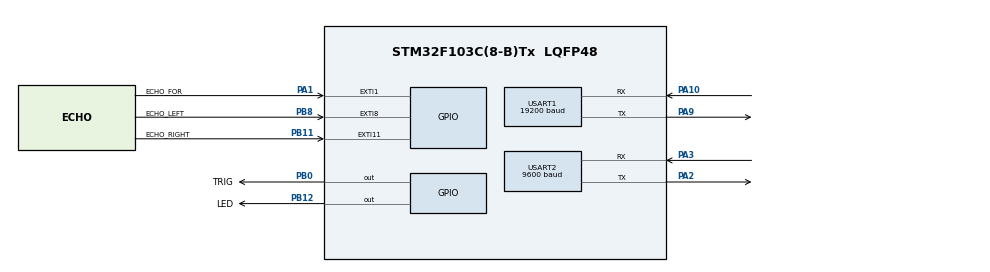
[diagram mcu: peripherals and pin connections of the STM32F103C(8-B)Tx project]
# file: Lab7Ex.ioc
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FREERTOS.Tasks01=defaultTask,0,128,StartDefaultTask,Default,NULL,Dynamic,NULL,NULL;ReadDistForward,0,128,ReadDist,Default,NULL,Dynamic,NULL,NULL;MainMove,0,128,MainMoveFunc,Default,NULL,Dynamic,NULL,NULL
Mcu.Family=STM32F1
Mcu.Name=STM32F103C(8-B)Tx
Mcu.Package=LQFP48
NVIC.EXTI15_10_IRQn=true\:5\:0\:false\:false\:true\:true\:true
NVIC.EXTI1_IRQn=true\:5\:0\:false\:false\:true\:true\:true
NVIC.EXTI9_5_IRQn=true\:5\:0\:false\:false\:true\:true\:true
NVIC.PriorityGroup=NVIC_PRIORITYGROUP_4
NVIC.TIM1_UP_IRQn=true\:0\:0\:false\:false\:true\:false\:false
NVIC.TIM3_IRQn=true\:5\:0\:false\:false\:true\:true\:true
NVIC.TimeBase=TIM1_UP_IRQn
NVIC.TimeBaseIP=TIM1
NVIC.USART2_IRQn=true\:5\:0\:false\:false\:true\:true\:true
PA1.GPIO_Label=ECHO_FOR
PA1.GPIO_ModeDefaultEXTI=GPIO_MODE_IT_RISING_FALLING
PA1.Signal=GPXTI1
PA10.Mode=Asynchronous
PA10.Signal=USART1_RX
PA13.Mode=Serial_Wire
PA13.Signal=SYS_JTMS-SWDIO
PA14.Mode=Serial_Wire
PA14.Signal=SYS_JTCK-SWCLK
PA2.Mode=Asynchronous
PA2.Signal=USART2_TX
PA3.Mode=Asynchronous
PA3.Signal=USART2_RX
PA9.Mode=Asynchronous
PA9.Signal=USART1_TX
PB0.GPIO_Label=TRIG
PB0.Signal=GPIO_Output
PB11.GPIO_Label=ECHO_RIGHT
PB11.GPIO_ModeDefaultEXTI=GPIO_MODE_IT_RISING_FALLING
PB11.Signal=GPXTI11
PB12.GPIO_Label=LED
PB12.Signal=GPIO_Output
PB8.GPIO_Label=ECHO_LEFT
PB8.GPIO_ModeDefaultEXTI=GPIO_MODE_IT_RISING_FALLING
PB8.Signal=GPXTI8
PD0-OSC_IN.Mode=HSE-External-Oscillator
PD0-OSC_IN.Signal=RCC_OSC_IN
PD1-OSC_OUT.Mode=HSE-External-Oscillator
PD1-OSC_OUT.Signal=RCC_OSC_OUT
ProjectManager.HeapSize=0x200
ProjectManager.StackSize=0x400
ProjectManager.TargetToolchain=MDK-ARM V5
RCC.APB1Freq_Value=8000000
RCC.APB2Freq_Value=8000000
TIM3.AutoReloadPreload=TIM_AUTORELOAD_PRELOAD_ENABLE
TIM3.Period=10000-1
TIM3.Prescaler=800-1
USART1.BaudRate=19200
USART1.VirtualMode=VM_ASYNC
USART2.BaudRate=9600
USART2.VirtualMode=VM_ASYNC
VP_FREERTOS_VS_ENABLE.Mode=Enabled
VP_SYS_VS_tim1.Mode=TIM1
VP_TIM3_VS_ClockSourceINT.Mode=Internal
board=custom

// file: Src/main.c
/**
  ******************************************************************************
  * @file           : main.c
  * @brief          : Main program body
  ******************************************************************************
  * This notice applies to any and all portions of this file
  * that are not between comment pairs USER CODE BEGIN and
  * USER CODE END. Other portions of this file, whether
  * inserted by the user or by software development tools
  * are owned by their respective copyright owners.
  *
  * Copyright (c) 2019 STMicroelectronics International N.V.
  * All rights reserved.
  *
  * Redistribution and use in source and binary forms, with or without
  * modification, are permitted, provided that the following conditions are met:
  *
  * 1. Redistribution of source code must retain the above copyright notice,
  *    this list of conditions and the following disclaimer.
  * 2. Redistributions in binary form must reproduce the above copyright notice,
  *    this list of conditions and the following disclaimer in the documentation
  *    and/or other materials provided with the distribution.
  * 3. Neither the name of STMicroelectronics nor the names of other
  *    contributors to this software may be used to endorse or promote products
  *    derived from this software without specific written permission.
  * 4. This software, including modifications and/or derivative works of this
  *    software, must execute solely and exclusively on microcontroller or
  *    microprocessor devices manufactured by or for STMicroelectronics.
  * 5. Redistribution and use of this software other than as permitted under
  *    this license is void and will automatically terminate your rights under
  *    this license.
  *
  * THIS SOFTWARE IS PROVIDED BY STMICROELECTRONICS AND CONTRIBUTORS "AS IS"
  * AND ANY EXPRESS, IMPLIED OR STATUTORY WARRANTIES, INCLUDING, BUT NOT
  * LIMITED TO, THE IMPLIED WARRANTIES OF MERCHANTABILITY, FITNESS FOR A
  * PARTICULAR PURPOSE AND NON-INFRINGEMENT OF THIRD PARTY INTELLECTUAL PROPERTY
  * RIGHTS ARE DISCLAIMED TO THE FULLEST EXTENT PERMITTED BY LAW. IN NO EVENT
  * SHALL STMICROELECTRONICS OR CONTRIBUTORS BE LIABLE FOR ANY DIRECT, INDIRECT,
  * INCIDENTAL, SPECIAL, EXEMPLARY, OR CONSEQUENTIAL DAMAGES (INCLUDING, BUT NOT
  * LIMITED TO, PROCUREMENT OF SUBSTITUTE GOODS OR SERVICES; LOSS OF USE, DATA,
  * OR PROFITS; OR BUSINESS INTERRUPTION) HOWEVER CAUSED AND ON ANY THEORY OF
  * LIABILITY, WHETHER IN CONTRACT, STRICT LIABILITY, OR TORT (INCLUDING
  * NEGLIGENCE OR OTHERWISE) ARISING IN ANY WAY OUT OF THE USE OF THIS SOFTWARE,
  * EVEN IF ADVISED OF THE POSSIBILITY OF SUCH DAMAGE.
  *
  ******************************************************************************
  */
#include "main.h"
#include "stm32f1xx_hal.h"
#include "cmsis_os.h"

/* USER CODE BEGIN Includes */

int CLEAR_PARAM = 60;
#define SPEED_SOUND 0.017
#define SIDE_CLEAR_PARAM 90
#define TURNANGLE 86
#define ANGLE_TOLER 3
#include "dwt_delay.h"
#define FOR_RIGHT 0xC1
#define FOR_LEFT 0xC9
#define BACK_RIGHT 0xC2
#define BACK_LEFT 0xCA
#define BRAKE_RIGHT 0xC4
#define BRAKE_LEFT 0xCC
#define ACCEL_RIGHT 0xC5
#define ACCEL_LEFT 0xCD
#define DIR_RIGHT 1
#define DIR_LEFT 0
#define EB3D_3N_WALL 40
#define ANGLE_OFFSET 20
#define MIN_DIST2WALL 40
#define RAMP1 55
#define RAMP2 56

/* USER CODE END Includes */

TIM_HandleTypeDef htim3;

UART_HandleTypeDef huart1;
UART_HandleTypeDef huart2;

osThreadId defaultTaskHandle;
osThreadId ReadDistForwardHandle;
osThreadId MainMoveHandle;

/* USER CODE BEGIN PV */
/* Private variables ---------------------------------------------------------*/
uint32_t local_time, sensor_time;
uint32_t distance;
volatile int angle;
int sensortimef,sensortimer,sensortimel;
char readyf,readyr,readyl;
char readyAngle=0;
int angle1,angle2,angle3,angle4,targetangle;
int correction;

unsigned long long seconds=0;
unsigned long long milliseconds=0;
char counterEN=0;
int clear(int value);
int readingsf[4];
int readingsr[4];
int readingsl[4];
int readingf;
int readingr;
int readingl;

char dir;
int state = 0;
float time = 0;
int human = 0;
//enum state {FWD_ALIGNED = 0, TURN, FWD_UNALIGNED, TURN180,UNTURN};
enum status {INIT, FWD_ALIGNED, TURN, FWD_UNALIGNED, STOP};
int comingtoTURNfrom, comingtoSTOPfrom;
char parentState=1;
char childState=0;
int startOpen=0;

int abs(int a) {
	return a < 0? -a : a;
}

int min(float a, float b) {
	return a < b ? a : b;
}

int max(float a, float b) {
	return a > b ? a : b;
}

int diff_angle(int angle_a, int angle_b) {
	int diff = angle_b - angle_a;
	if (diff > 180) {
		diff = 360-diff;
		diff = -diff;
	} else if (diff < -180) {
		diff = 360+diff;
		diff = -diff;
	}
	return diff; // 0->180 or -180->0
}
int lastUpdatedSecond=-1;
int possibleWallTime=-1;
void goForward(int speed)
{

	int speedr = speed;
	int speedl=speed;
	if(state==FWD_ALIGNED&&(readingl<MIN_DIST2WALL||readingr<MIN_DIST2WALL))
	{
		if(readingl<MIN_DIST2WALL&&readingr>MIN_DIST2WALL+5)
		{
			speedr=0;
		}else if(readingr<MIN_DIST2WALL&&readingl>MIN_DIST2WALL+5)
		{
			speedl=0;
		}
		if(lastUpdatedSecond==-1||seconds-lastUpdatedSecond>=1)
		{
			if(speedr==0)
			{
				lastUpdatedSecond=seconds;
				angle1++;
			}else if(speedl==0)
			{
				lastUpdatedSecond=seconds;
				if(angle1==0)
					angle1=359;
				else
					angle1--;
			}
			angle1=angle1%360;
			angle2=(angle1+90)%360;
			angle3=(angle2+90)%360;
			angle4=(angle3+90)%360;
		}
	}else{
		int diff = diff_angle(angle, targetangle);
		int adiff = abs(diff);
		if (adiff > ANGLE_TOLER && adiff <= 45) {
			if (diff < 0) {
				speedl -= speed*((1-(0.05f+min(0.95f, abs(45-adiff)/45.0f))));
			} else {
				speedr -= speed*((1-(0.05f+min(0.95f, abs(45-adiff)/45.0f))));
			}
		} else if (adiff > 45) {
			if (diff < 0) {
				speedl = 0;
			} else {
				speedr = 0;
			}
		}
	}
	uint8_t forward[] = {ACCEL_RIGHT, speedr, ACCEL_LEFT,speedl};
	HAL_UART_Transmit(&huart1, forward ,sizeof(forward), 1000);
}
void goForwardUnAlligned(int speed)
{
	int speedr = speed;
	int speedl=speed;
	uint8_t forward[] = {ACCEL_RIGHT, speedr, ACCEL_LEFT,speedl};
	HAL_UART_Transmit(&huart1, forward ,sizeof(forward), 1000);
}
void stop()
{
	uint8_t stop[] = {BRAKE_RIGHT, 0x00, BRAKE_LEFT, 0x00};
	HAL_UART_Transmit(&huart1, stop ,sizeof(stop), 1000);
}
void right(int speed) {
		uint8_t a[] = { FOR_LEFT, speed, BACK_RIGHT, speed};
		HAL_UART_Transmit(&huart1, a ,sizeof(a), 1000);
		while(diff_angle(angle, targetangle) >= ANGLE_TOLER);
		stop();
//	int startAngle=angle;
//	uint8_t a[] = { 0xC2, 0x20, 0xC9, 0x20};
//	HAL_UART_Transmit(&huart1, a ,sizeof(a), 1000);
//	while(1){
//		if(angle>startAngle&&(angle-startAngle>=TURNANGLE))
//				break;
//		if(angle<startAngle&&((360+angle)-startAngle>=TURNANGLE))
//				break;
//	};
//		stop();
}

void left(int speed)
{
		uint8_t a[] = { FOR_RIGHT, speed, BACK_LEFT, speed};
		HAL_UART_Transmit(&huart1, a ,sizeof(a), 1000);
		while(diff_angle(angle, targetangle) <= -ANGLE_TOLER);
		stop();
//	int startAngle=angle;
//		uint8_t a[] = { 0xC1, 0x20, 0xCA, 0x20};
//		HAL_UART_Transmit(&huart1, a ,sizeof(a), 1000);
//		while(1){
//			if(angle<startAngle&&(startAngle-angle>=TURNANGLE))
//				break;
//			if(angle>startAngle&&((360+startAngle)-angle>=TURNANGLE))
//				break;
//		};
//		stop();
	//HAL_Delay(delay);
}

int getReading(int* readings)
{
	int avg=0;
	for(int i = 0;i<4;i++) {
			avg+=readings[i];
	}
	return avg/4;
}
void addReading(int* readings,int reading)
{
	for(int i = 0;i<3;i++)
		readings[i]=readings[i+1];
	readings[3]=reading;
}
/* USER CODE END PV */

void SystemClock_Config(void);
static void MX_GPIO_Init(void);
static void MX_USART1_UART_Init(void);
static void MX_USART2_UART_Init(void);
static void MX_TIM3_Init(void);
void StartDefaultTask(void const * argument);
void ReadDist(void const * argument);
void MainMoveFunc(void const * argument);

/* USER CODE BEGIN PFP */
/* Private function prototypes -----------------------------------------------*/

/* USER CODE END PFP */

int main(void)
{

  /* MCU Configuration----------------------------------------------------------*/

  /* Reset of all peripherals, Initializes the Flash interface and the Systick. */
  HAL_Init();

  /* Configure the system clock */
  SystemClock_Config();

  /* Initialize all configured peripherals */
  MX_GPIO_Init();
  MX_USART1_UART_Init();
  MX_USART2_UART_Init();
  MX_TIM3_Init();

  /* Create the thread(s) */
  /* definition and creation of defaultTask */
  osThreadDef(defaultTask, StartDefaultTask, osPriorityNormal, 0, 128);
  defaultTaskHandle = osThreadCreate(osThread(defaultTask), NULL);

  /* definition and creation of ReadDistForward */
  osThreadDef(ReadDistForward, ReadDist, osPriorityNormal, 0, 128);
  ReadDistForwardHandle = osThreadCreate(osThread(ReadDistForward), NULL);

  /* definition and creation of MainMove */
  osThreadDef(MainMove, MainMoveFunc, osPriorityNormal, 0, 128);
  MainMoveHandle = osThreadCreate(osThread(MainMove), NULL);

  /* USER CODE BEGIN RTOS_QUEUES */
  /* add queues, ... */
	DWT_Init();
	__HAL_UART_ENABLE_IT(&huart2, UART_IT_RXNE);
	HAL_TIM_Base_Start_IT(&htim3);
	HAL_Delay(3000);
	stop();
	HAL_Delay(1000);
  /* USER CODE END RTOS_QUEUES */

  /* Start scheduler */
  osKernelStart();

  /* We should never get here as control is now taken by the scheduler */

  /* Infinite loop */
  while (1)
  {

  }

}

void SystemClock_Config(void)
{

  RCC_OscInitTypeDef RCC_OscInitStruct;
  RCC_ClkInitTypeDef RCC_ClkInitStruct;

    /**Initializes the CPU, AHB and APB busses clocks
    */
  RCC_OscInitStruct.OscillatorType = RCC_OSCILLATORTYPE_HSI;
  RCC_OscInitStruct.HSIState = RCC_HSI_ON;
  RCC_OscInitStruct.HSICalibrationValue = 16;
  RCC_OscInitStruct.PLL.PLLState = RCC_PLL_NONE;
  if (HAL_RCC_OscConfig(&RCC_OscInitStruct) != HAL_OK)
  {
    _Error_Handler(__FILE__, __LINE__);
  }

    /**Initializes the CPU, AHB and APB busses clocks
    */
  RCC_ClkInitStruct.ClockType = RCC_CLOCKTYPE_HCLK|RCC_CLOCKTYPE_SYSCLK
                              |RCC_CLOCKTYPE_PCLK1|RCC_CLOCKTYPE_PCLK2;
  RCC_ClkInitStruct.SYSCLKSource = RCC_SYSCLKSOURCE_HSI;
  RCC_ClkInitStruct.AHBCLKDivider = RCC_SYSCLK_DIV1;
  RCC_ClkInitStruct.APB1CLKDivider = RCC_HCLK_DIV1;
  RCC_ClkInitStruct.APB2CLKDivider = RCC_HCLK_DIV1;

  if (HAL_RCC_ClockConfig(&RCC_ClkInitStruct, FLASH_LATENCY_0) != HAL_OK)
  {
    _Error_Handler(__FILE__, __LINE__);
  }

    /**Configure the Systick interrupt time
    */
  HAL_SYSTICK_Config(HAL_RCC_GetHCLKFreq()/1000);

    /**Configure the Systick
    */
  HAL_SYSTICK_CLKSourceConfig(SYSTICK_CLKSOURCE_HCLK);

  /* SysTick_IRQn interrupt configuration */
  HAL_NVIC_SetPriority(SysTick_IRQn, 15, 0);
}

/* TIM3 init function */
static void MX_TIM3_Init(void)
{

  TIM_ClockConfigTypeDef sClockSourceConfig;
  TIM_MasterConfigTypeDef sMasterConfig;

  htim3.Instance = TIM3;
  htim3.Init.Prescaler = 800-1;
  htim3.Init.CounterMode = TIM_COUNTERMODE_UP;
  htim3.Init.Period = 10000-1;
  htim3.Init.ClockDivision = TIM_CLOCKDIVISION_DIV1;
  htim3.Init.AutoReloadPreload = TIM_AUTORELOAD_PRELOAD_ENABLE;
  if (HAL_TIM_Base_Init(&htim3) != HAL_OK)
  {
    _Error_Handler(__FILE__, __LINE__);
  }

  sClockSourceConfig.ClockSource = TIM_CLOCKSOURCE_INTERNAL;
  if (HAL_TIM_ConfigClockSource(&htim3, &sClockSourceConfig) != HAL_OK)
  {
    _Error_Handler(__FILE__, __LINE__);
  }

  sMasterConfig.MasterOutputTrigger = TIM_TRGO_RESET;
  sMasterConfig.MasterSlaveMode = TIM_MASTERSLAVEMODE_DISABLE;
  if (HAL_TIMEx_MasterConfigSynchronization(&htim3, &sMasterConfig) != HAL_OK)
  {
    _Error_Handler(__FILE__, __LINE__);
  }

}

/* USART1 init function */
static void MX_USART1_UART_Init(void)
{

  huart1.Instance = USART1;
  huart1.Init.BaudRate = 19200;
  huart1.Init.WordLength = UART_WORDLENGTH_8B;
  huart1.Init.StopBits = UART_STOPBITS_1;
  huart1.Init.Parity = UART_PARITY_NONE;
  huart1.Init.Mode = UART_MODE_TX_RX;
  huart1.Init.HwFlowCtl = UART_HWCONTROL_NONE;
  huart1.Init.OverSampling = UART_OVERSAMPLING_16;
  if (HAL_UART_Init(&huart1) != HAL_OK)
  {
    _Error_Handler(__FILE__, __LINE__);
  }

}

/* USART2 init function */
static void MX_USART2_UART_Init(void)
{

  huart2.Instance = USART2;
  huart2.Init.BaudRate = 9600;
  huart2.Init.WordLength = UART_WORDLENGTH_8B;
  huart2.Init.StopBits = UART_STOPBITS_1;
  huart2.Init.Parity = UART_PARITY_NONE;
  huart2.Init.Mode = UART_MODE_TX_RX;
  huart2.Init.HwFlowCtl = UART_HWCONTROL_NONE;
  huart2.Init.OverSampling = UART_OVERSAMPLING_16;
  if (HAL_UART_Init(&huart2) != HAL_OK)
  {
    _Error_Handler(__FILE__, __LINE__);
  }

}

/** Configure pins as
        * Analog
        * Input
        * Output
        * EVENT_OUT
        * EXTI
*/
static void MX_GPIO_Init(void)
{

  GPIO_InitTypeDef GPIO_InitStruct;

  /* GPIO Ports Clock Enable */
  __HAL_RCC_GPIOD_CLK_ENABLE();
  __HAL_RCC_GPIOA_CLK_ENABLE();
  __HAL_RCC_GPIOB_CLK_ENABLE();

  /*Configure GPIO pin Output Level */
  HAL_GPIO_WritePin(GPIOB, TRIG_Pin|LED_Pin, GPIO_PIN_RESET);

  /*Configure GPIO pin : ECHO_FOR_Pin */
  GPIO_InitStruct.Pin = ECHO_FOR_Pin;
  GPIO_InitStruct.Mode = GPIO_MODE_IT_RISING_FALLING;
  GPIO_InitStruct.Pull = GPIO_NOPULL;
  HAL_GPIO_Init(ECHO_FOR_GPIO_Port, &GPIO_InitStruct);

  /*Configure GPIO pins : TRIG_Pin LED_Pin */
  GPIO_InitStruct.Pin = TRIG_Pin|LED_Pin;
  GPIO_InitStruct.Mode = GPIO_MODE_OUTPUT_PP;
  GPIO_InitStruct.Pull = GPIO_NOPULL;
  GPIO_InitStruct.Speed = GPIO_SPEED_FREQ_LOW;
  HAL_GPIO_Init(GPIOB, &GPIO_InitStruct);

  /*Configure GPIO pins : ECHO_RIGHT_Pin ECHO_LEFT_Pin */
  GPIO_InitStruct.Pin = ECHO_RIGHT_Pin|ECHO_LEFT_Pin;
  GPIO_InitStruct.Mode = GPIO_MODE_IT_RISING_FALLING;
  GPIO_InitStruct.Pull = GPIO_NOPULL;
  HAL_GPIO_Init(GPIOB, &GPIO_InitStruct);

  /* EXTI interrupt init*/
  HAL_NVIC_SetPriority(EXTI1_IRQn, 5, 0);
  HAL_NVIC_EnableIRQ(EXTI1_IRQn);

  HAL_NVIC_SetPriority(EXTI9_5_IRQn, 5, 0);
  HAL_NVIC_EnableIRQ(EXTI9_5_IRQn);

  HAL_NVIC_SetPriority(EXTI15_10_IRQn, 5, 0);
  HAL_NVIC_EnableIRQ(EXTI15_10_IRQn);

}

void StartDefaultTask(void const * argument)
{

 for(;;){
		osDelay(1);
  }
}

/* USER CODE BEGIN Header_ReadDist */
/**
* @brief Function implementing the ReadDistForward thread.
* @param argument: Not used
* @retval None
*/
int read=0;
/* USER CODE END Header_ReadDist */
void ReadDist(void const * argument)
{
  /* USER CODE BEGIN ReadDist */
  /* Infinite loop */
	readyr=0;
	readyf=0;
	readyl=0;
	HAL_GPIO_WritePin(TRIG_GPIO_Port, TRIG_Pin, GPIO_PIN_SET);  // pull the TRIG pin HIGH
	DWT_Delay(10);  // wait for 10 us
	HAL_GPIO_WritePin(TRIG_GPIO_Port, TRIG_Pin, GPIO_PIN_RESET);  // pull the TRIG pin low
  for(;;)
  {
		if(readyf)
		{
			distance  = sensortimef*SPEED_SOUND;
			addReading(readingsf,distance);
			read=getReading(readingsf);
			if(read!=-1)
				readingf=read;
		}
		if(readyl)
		{
			distance  = sensortimel*SPEED_SOUND;
			addReading(readingsl,distance);
			read=getReading(readingsl);
			if(read!=-1)
					readingl=read;
		}
		if(readyr)
		{
			distance  = sensortimer*SPEED_SOUND;
			addReading(readingsr,distance);
			read=getReading(readingsr);
			if(read!=-1)
					readingr=read;
		}
		if(readyf&&readyl&&readyr)
		{
			readyr=0;
			readyf=0;
			readyl=0;
			HAL_GPIO_WritePin(TRIG_GPIO_Port, TRIG_Pin, GPIO_PIN_SET);  // pull the TRIG pin HIGH
			DWT_Delay(10);  // wait for 10 us
			HAL_GPIO_WritePin(TRIG_GPIO_Port, TRIG_Pin, GPIO_PIN_RESET);  // pull the TRIG pin low
		}
    osDelay(10);
  }
  /* USER CODE END ReadDist */
}

/* USER CODE BEGIN Header_MainMoveFunc */
/**
* @brief Function implementing the MainMove thread.
* @param argument: Not used
* @retval None
*/
int clear(int value){
	return (value >= CLEAR_PARAM);
}
int clearmax(int value,int max){
	return (value >= max);
}
int firstOpenSeconds=0;
/* USER CODE END Header_MainMoveFunc */

void MainMoveFunc(void const * argument)
{
  /* USER CODE BEGIN MainMoveFunc */
  /* Infinite loop */
	osDelay(1000);
	while (readyAngle==0)	{
		osDelay(100);
	}
	parentState=1;
	targetangle = angle1;
  for(;;)
  {
			if(parentState==1||parentState==3)
			{
				CLEAR_PARAM=60;
				switch(state){
					case INIT:
						counterEN=0;
						stop();
						osDelay(10);
						if (clear(readingf)){
							state = FWD_ALIGNED;
						}
						break;

					case FWD_ALIGNED:
						targetangle = angle1;
						if (clear(readingf)){
							counterEN=1;
							goForward(0x35);
							if(parentState==1&&seconds>=5&&abs(diff_angle(angle,targetangle))<=5&&readingl>1000)
							{
								HAL_GPIO_WritePin(LED_GPIO_Port,LED_Pin,0);
								if(firstOpenSeconds==0)
									firstOpenSeconds=seconds;
								else if(seconds-firstOpenSeconds>=30)
									state=STOP;
							}else
							{
								HAL_GPIO_WritePin(LED_GPIO_Port,LED_Pin,1);
							}
						}
						else{
							counterEN=0;
							stop();
							if(human!=0)
							{
								taskENTER_CRITICAL();
								uint8_t send[1]={1};
								HAL_UART_Transmit(&huart2,send,sizeof(send),300);
								taskEXIT_CRITICAL();
								while(human) {
									osDelay(100);
								}
								taskENTER_CRITICAL();
								send[0]=0;
								HAL_UART_Transmit(&huart2,send,sizeof(send),300);
								taskEXIT_CRITICAL();
								osDelay(1000);
							}else
								osDelay(100);

							if (clear(readingl) && readingl >= readingr){
								targetangle = angle4;
								state = TURN;
								comingtoTURNfrom = FWD_ALIGNED;
								dir = DIR_LEFT;
							}
							else if (clear(readingr) && readingr > readingl){
								targetangle = angle2;
								state = TURN;
								comingtoTURNfrom = FWD_ALIGNED;
								dir = DIR_RIGHT;
							}
						}
						break;

					case TURN:
						counterEN=0;
						if (dir == DIR_RIGHT){
							right(0x20);
						}
						else{
							left(0x20);
						}
						if(comingtoTURNfrom == FWD_ALIGNED){
							state = FWD_UNALIGNED;
						}
						else if(comingtoTURNfrom == FWD_UNALIGNED){
							state = FWD_ALIGNED;
						}
						break;

					case FWD_UNALIGNED:
						counterEN=0;
						if (dir == DIR_LEFT){
							if (clear(readingf) && !clearmax(readingr, SIDE_CLEAR_PARAM)){
								goForward(0x35);
							}
							else if (1){
								if (clear(readingf)){
									goForwardUnAlligned(0x35);
									osDelay(1000);
								}
								targetangle = angle1;
								comingtoTURNfrom = FWD_UNALIGNED;
								dir = DIR_RIGHT;
								state = TURN;
							}
							else {
								stop();
							}
						}
						else if (dir == DIR_RIGHT){
							if (clear(readingf)&& !clearmax(readingl, SIDE_CLEAR_PARAM)){
								goForward(0x35);
							}
							else if (1){
								if (clear(readingf)){
									goForwardUnAlligned(0x35);
									osDelay(1000);
								}
								targetangle = angle1;
								comingtoTURNfrom = FWD_UNALIGNED;
								dir=DIR_LEFT;
								state = TURN;
							}
							else{
								//state = STOP;
								stop();
								//comingtoSTOPfrom = FWD_UNALIGNED;
							}
						}
						break;

					case STOP:

						counterEN=0;
						targetangle=angle1;
						if (clear(readingf)){
								goForward(0x35);
								osDelay(1000);
							}
						stop();
						targetangle = angle4;
						left(0x20);
						parentState=2;
				    state=INIT;
						int temp=angle2;
						angle2 = angle1;
						angle1 = angle4;
						angle4 = angle3;
						angle3 = temp;
						break;
				}
			}

  		else if(parentState==2)
			{
				CLEAR_PARAM=45;
				switch(state)
				{
					case INIT:

						targetangle=angle1;
						state=FWD_ALIGNED;
						seconds=0;
						counterEN=0;
						break;
					case FWD_ALIGNED:
						targetangle = angle1;
						if(childState==RAMP1&&seconds>=10)
						{
							if(angle1>=45)
								angle1-=45;
							else
								angle1 = 360+angle1-45;
							angle1=angle1%360;
							angle2=(angle1+90)%360;
							angle3=(angle2+90)%360;
							angle4=(angle3+90)%360;

							childState=RAMP2;
							counterEN=0;
							seconds=0;
						}
						else if (clear(readingf)){
							if(childState==RAMP1)
								counterEN=1;
							goForward(0x35);
							if(childState==RAMP2){
								counterEN=1;
								if(seconds>=20){
									state=STOP;
								}
							}
						}
						else{
							if(childState==RAMP2&&seconds>15&&readingl>=1000){
								state=STOP;
							}else{
								counterEN=0;
								stop();
								osDelay(10);
								if (clear(readingl) && readingl >= readingr){
									targetangle = angle4;
									state = TURN;
									comingtoTURNfrom = FWD_ALIGNED;
									dir = DIR_LEFT;
								}
								else if (clear(readingr) && readingr > readingl){
									targetangle = angle2;
									state = TURN;
									comingtoTURNfrom = FWD_ALIGNED;
									dir = DIR_RIGHT;
								}
							}
						}
						break;

					case TURN:
						if (dir == DIR_RIGHT){
							right(0x20);
						}
						else{
							left(0x20);
						}
						if(comingtoTURNfrom == FWD_ALIGNED){
							state = FWD_UNALIGNED;
						}
						else if(comingtoTURNfrom == FWD_UNALIGNED){
							state = FWD_ALIGNED;
						}
						break;

					case FWD_UNALIGNED:
						counterEN=0;
						if (dir == DIR_LEFT){
							if (clear(readingf) && !clearmax(readingr, SIDE_CLEAR_PARAM)){
								goForward(0x35);
							}
							else if (1){
								if (clear(readingf)){
									goForward(0x35);
									osDelay(1000);
								}
								targetangle = angle1;
								comingtoTURNfrom = FWD_UNALIGNED;
								dir = DIR_RIGHT;
								state = TURN;
							}
							else {
								stop();
							}
						}
						else if (dir == DIR_RIGHT){
							if (clear(readingf)&& !clearmax(readingl, SIDE_CLEAR_PARAM)){
								goForward(0x35);
							}
							else if (clearmax(readingl, SIDE_CLEAR_PARAM)){
								targetangle = angle1;
								comingtoTURNfrom = FWD_UNALIGNED;
								dir=DIR_LEFT;
								state = TURN;
							}
							else if(clearmax(readingr, SIDE_CLEAR_PARAM)){
								int temp1=angle1;
								int temp2=angle2;
								angle1 = angle3;
								angle2 = angle4;
								angle3 = temp1;
								angle4 = temp2;
								targetangle=angle1;
								dir = DIR_RIGHT;
								state=TURN;
								childState=RAMP1;
								comingtoTURNfrom = FWD_UNALIGNED;
							}else
							{
								targetangle = angle1;
								comingtoTURNfrom = FWD_UNALIGNED;
								dir=DIR_LEFT;
								state = TURN;
							}
//								else if (clearmax(readingl, SIDE_CLEAR_PARAM)){
//								if (clear(readingf)){
//									goForward(0x35);
//									osDelay(1000);
//								}
//								targetangle = angle1;
//								comingtoTURNfrom = FWD_UNALIGNED;
//								dir=DIR_LEFT;
//								state = TURN;
//							}

						}
						break;

					case STOP:
						counterEN=0;
						seconds=0;
						targetangle=angle1;
						if (clear(readingf)){
								goForward(0x35);
								osDelay(1000);
							}
						stop();
						targetangle = angle4;
						left(0x20);
						parentState=3;
				    state=INIT;
						int temp=angle2;
						angle2 = angle1;
						angle1 = angle4;
						angle4 = angle3;
						angle3 = temp;
						break;
				}
			}
			osDelay(10);
	}
  /* USER CODE END MainMoveFunc */
}

void HAL_TIM_PeriodElapsedCallback(TIM_HandleTypeDef *htim)
{
  if (htim->Instance == TIM1) {
    HAL_IncTick();
  }
}

void _Error_Handler(char *file, int line)
{
  while(1)
  {
  }
}

/************************ (C) COPYRIGHT STMicroelectronics *****END OF FILE****/
